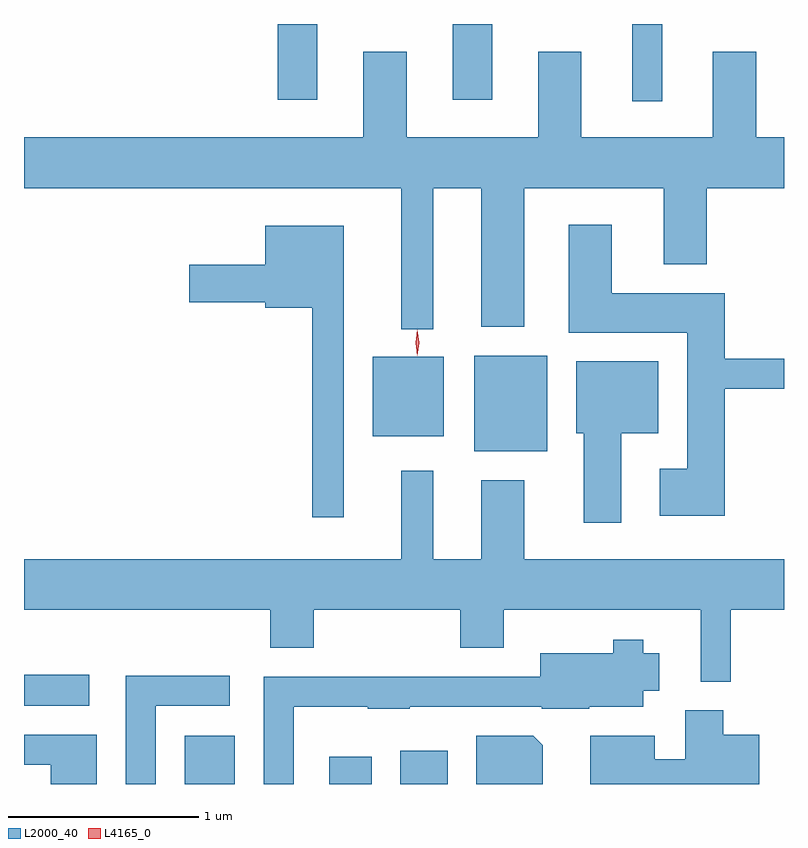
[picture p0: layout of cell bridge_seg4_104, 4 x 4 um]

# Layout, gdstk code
import gdstk
lib = gdstk.Library(unit=1e-6, precision=1e-09)
def R(c, l, rs):  # rectangles x0, y0, x1, y1
    for r in rs: c.add(gdstk.rectangle(r[:2], r[2:], *l))
def P(c, l, *ps):  # polygons
    for p in ps: c.add(gdstk.Polygon(p, *l))
L2000_40 = (2000, 40)
L4165_0 = (4165, 0)

bridge_seg4_104 = lib.new_cell('bridge_seg4_104')
R(bridge_seg4_104, L2000_40, [(809.461,1387.06,809.724,1387.314), (810.221,1387.06,810.444,1387.204), (810.596,1387.06,810.844,1387.234), (808.615,1387.471,808.958,1387.634), (810.986,1388.811,811.369,1389.314), (810.451,1388.891,810.824,1389.309), (811.816,1390.653,811.974,1391.06), (809.951,1390.661,810.159,1391.06), (810.871,1390.661,811.079,1391.06)])
P(bridge_seg4_104, L2000_40, [(810.769,1390.196),(811.021,1390.196),(811.021,1389.466),(811.249,1389.466),(811.249,1390.196),(811.981,1390.196),(811.981,1389.796),(812.209,1389.796),(812.209,1390.196),(812.615,1390.196),(812.615,1390.464),(812.469,1390.464),(812.469,1390.914),(812.241,1390.914),(812.241,1390.464),(811.549,1390.464),(811.549,1390.914),(811.321,1390.914),(811.321,1390.464),(810.629,1390.464),(810.629,1390.914),(810.401,1390.914),(810.401,1390.464),(808.615,1390.464),(808.615,1390.196),(810.601,1390.196),(810.601,1389.453),(810.769,1389.453)],
  [(812.304,1389.141),(812.615,1389.141),(812.615,1389.299),(812.304,1389.299),(812.304,1389.644),(811.709,1389.644),(811.709,1390.004),(811.481,1390.004),(811.481,1389.436),(812.106,1389.436),(812.106,1388.719),(811.961,1388.719),(811.961,1388.471),(812.304,1388.471)],
  [(810.299,1389.999),(809.886,1389.999),(809.886,1389.794),(809.486,1389.794),(809.486,1389.596),(809.886,1389.596),(809.886,1389.566),(810.131,1389.566),(810.131,1388.463),(810.299,1388.463)],
  [(811.759,1388.906),(811.954,1388.906),(811.954,1389.284),(811.521,1389.284),(811.521,1388.906),(811.561,1388.906),(811.561,1388.436),(811.759,1388.436)],
  [(812.334,1387.976),(812.615,1387.976),(812.615,1388.244),(811.249,1388.244),(811.249,1388.659),(811.021,1388.659),(811.021,1388.244),(810.769,1388.244),(810.769,1388.708),(810.601,1388.708),(810.601,1388.244),(808.615,1388.244),(808.615,1387.976),(809.911,1387.976),(809.911,1387.776),(810.139,1387.776),(810.139,1387.976),(810.911,1387.976),(810.911,1387.776),(811.139,1387.776),(811.139,1387.976),(812.176,1387.976),(812.176,1387.598),(812.334,1387.598)],
  [(810.034,1387.466),(810.425,1387.466),(810.425,1387.456),(810.645,1387.456),(810.645,1387.466),(811.34,1387.466),(811.34,1387.456),(811.59,1387.456),(811.59,1387.466),(811.874,1387.466),(811.874,1387.551),(811.959,1387.551),(811.959,1387.749),(811.874,1387.749),(811.874,1387.819),(811.716,1387.819),(811.716,1387.749),(811.331,1387.749),(811.331,1387.624),(809.876,1387.624),(809.876,1387.06),(810.034,1387.06)],
  [(809.309,1387.471),(809.698,1387.471),(809.698,1387.629),(809.151,1387.629),(809.151,1387.06),(809.309,1387.06)],
  [(812.484,1387.319),(812.294,1387.319),(812.294,1387.449),(812.096,1387.449),(812.096,1387.189),(811.934,1387.189),(811.934,1387.314),(811.596,1387.314),(811.596,1387.06),(812.484,1387.06)],
  [(808.999,1387.319),(808.615,1387.319),(808.615,1387.161),(808.756,1387.161),(808.756,1387.06),(808.999,1387.06)],
  [(811.344,1387.264),(811.294,1387.314),(810.996,1387.314),(810.996,1387.06),(811.344,1387.06)])
P(bridge_seg4_104, L4165_0, [(810.686,1389.314),(810.686,1389.314),(810.676,1389.382),(810.684,1389.45),(810.685,1389.45),(810.686,1389.45),(810.696,1389.382),(810.686,1389.314)],
  [(810.686,1389.318),(810.685,1389.319),(810.676,1389.383),(810.684,1389.447),(810.685,1389.447),(810.686,1389.447),(810.695,1389.383),(810.686,1389.319)])

lib.write_gds('bridge_seg4_104.gds')
